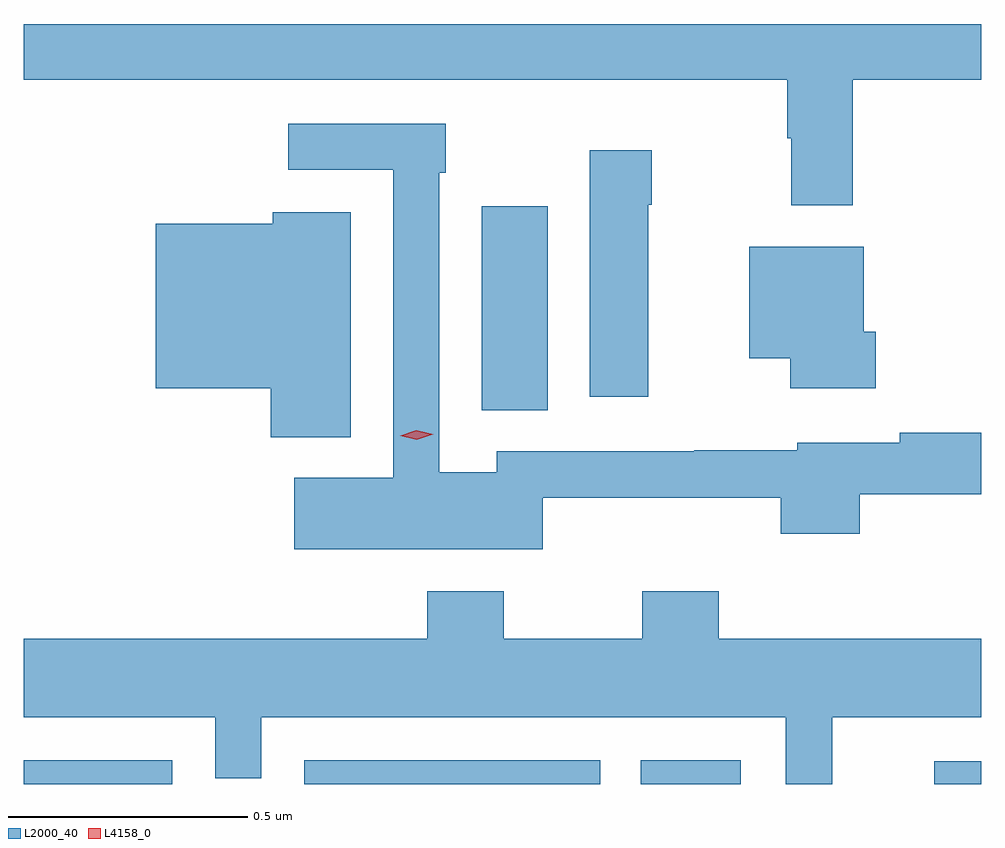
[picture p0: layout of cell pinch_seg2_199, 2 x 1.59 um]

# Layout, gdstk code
import gdstk
lib = gdstk.Library(unit=1e-6, precision=1e-09)
def R(c, l, rs):  # rectangles x0, y0, x1, y1
    for r in rs: c.add(gdstk.rectangle(r[:2], r[2:], *l))
def P(c, l, *ps):  # polygons
    for p in ps: c.add(gdstk.Polygon(p, *l))
L2000_40 = (2000, 40)
L4158_0 = (4158, 0)

pinch_seg2_199 = lib.new_cell('pinch_seg2_199')
R(pinch_seg2_199, L2000_40, [(989.798,664.813,990.108,664.863), (990.384,664.813,991.002,664.863), (991.087,664.813,991.296,664.863), (991.7,664.813,991.798,664.861), (990.755,665.593,990.892,666.019)])
P(pinch_seg2_199, L2000_40, [(991.529,666.284),(991.798,666.284),(991.798,666.4),(989.798,666.4),(989.798,666.284),(991.393,666.284),(991.393,666.161),(991.401,666.161),(991.401,666.021),(991.529,666.021)],
  [(990.882,665.411),(991.379,665.411),(991.379,665.336),(991.544,665.336),(991.544,665.418),(991.798,665.418),(991.798,665.546),(991.627,665.546),(991.627,665.526),(991.413,665.526),(991.413,665.51),(991.198,665.51),(991.198,665.508),(990.786,665.508),(990.786,665.464),(990.666,665.464),(990.666,666.089),(990.679,666.089),(990.679,666.192),(990.351,666.192),(990.351,666.096),(990.57,666.096),(990.57,665.452),(990.363,665.452),(990.363,665.303),(990.882,665.303)],
  [(991.102,666.023),(991.11,666.023),(991.11,666.136),(990.98,666.136),(990.98,665.622),(991.102,665.622)],
  [(990.481,666.007),(990.318,666.007),(990.318,665.983),(990.074,665.983),(990.074,665.639),(990.314,665.639),(990.314,665.537),(990.481,665.537)],
  [(991.577,665.757),(991.552,665.757),(991.552,665.935),(991.313,665.935),(991.313,665.702),(991.399,665.702),(991.399,665.639),(991.577,665.639)],
  [(991.487,664.952),(991.798,664.952),(991.798,665.116),(991.25,665.116),(991.25,665.215),(991.09,665.215),(991.09,665.116),(990.801,665.116),(990.801,665.215),(990.641,665.215),(990.641,665.116),(989.798,665.116),(989.798,664.952),(990.198,664.952),(990.198,664.825),(990.294,664.825),(990.294,664.952),(991.389,664.952),(991.389,664.813),(991.487,664.813)])
P(pinch_seg2_199, L4158_0, [(990.619,665.532),(990.584,665.54),(990.584,665.54),(990.584,665.54),(990.618,665.552),(990.653,665.543),(990.653,665.543),(990.653,665.543)])

lib.write_gds('pinch_seg2_199.gds')
